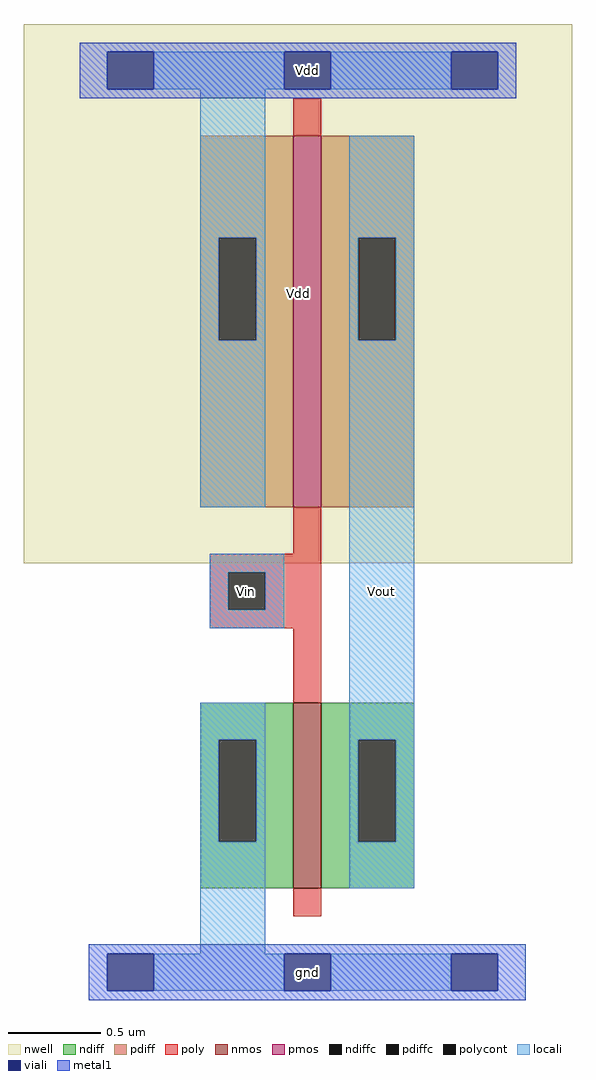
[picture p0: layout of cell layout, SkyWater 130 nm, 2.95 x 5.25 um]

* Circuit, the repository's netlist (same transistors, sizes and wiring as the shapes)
* SPICE3 file created from layout.ext - technology: sky130A

X0 Vout Vin gnd gnd sky130_fd_pr__nfet_01v8 ad=0.5 pd=3 as=0.5 ps=3 w=1 l=0.15
X1 Vout Vin Vdd Vdd sky130_fd_pr__pfet_01v8 ad=1 pd=5 as=1 ps=5 w=2 l=0.15

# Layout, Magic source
magic
tech sky130A
<< nwell >>
rect -110 30 185 320
<< nmos >>
rect 35 -145 50 -45
<< pmos >>
rect 35 60 50 260
<< ndiff >>
rect -15 -65 35 -45
rect -15 -120 -5 -65
rect 15 -120 35 -65
rect -15 -145 35 -120
rect 50 -65 100 -45
rect 50 -120 70 -65
rect 90 -120 100 -65
rect 50 -145 100 -120
<< pdiff >>
rect -15 205 35 260
rect -15 150 -5 205
rect 15 150 35 205
rect -15 60 35 150
rect 50 205 100 260
rect 50 150 70 205
rect 90 150 100 205
rect 50 60 100 150
<< ndiffc >>
rect -5 -120 15 -65
rect 70 -120 90 -65
<< pdiffc >>
rect -5 150 15 205
rect 70 150 90 205
<< poly >>
rect 35 260 50 280
rect 35 35 50 60
rect -10 25 50 35
rect -10 5 0 25
rect 20 5 50 25
rect -10 -5 50 5
rect 35 -45 50 -5
rect 35 -160 50 -145
<< polycont >>
rect 0 5 20 25
<< locali >>
rect -40 285 30 305
rect 55 285 120 305
rect -15 205 20 285
rect -15 150 -5 205
rect 15 150 20 205
rect -15 60 20 150
rect 65 205 100 260
rect 65 150 70 205
rect 90 150 100 205
rect -10 25 30 35
rect -10 5 0 25
rect 20 5 30 25
rect -10 -5 30 5
rect -15 -65 20 -45
rect -15 -120 -5 -65
rect 15 -120 20 -65
rect -15 -180 20 -120
rect 65 -65 100 150
rect 65 -120 70 -65
rect 90 -120 100 -65
rect 65 -145 100 -120
rect -40 -200 30 -180
rect 55 -200 120 -180
<< viali >>
rect -65 285 -40 305
rect 30 285 55 305
rect 120 285 145 305
rect -65 -200 -40 -180
rect 30 -200 55 -180
rect 120 -200 145 -180
<< metal1 >>
rect -80 305 155 310
rect -80 285 -65 305
rect -40 285 30 305
rect 55 285 120 305
rect 145 285 155 305
rect -80 280 155 285
rect -75 -180 160 -175
rect -75 -200 -65 -180
rect -40 -200 30 -180
rect 55 -200 120 -180
rect 145 -200 160 -180
rect -75 -205 160 -200
<< labels >>
rlabel viali 30 285 55 305 1 Vdd
rlabel polycont 0 5 20 25 1 Vin
rlabel locali 65 0 100 30 1 Vout
rlabel viali 30 -200 55 -180 1 gnd
rlabel nwell -110 30 185 320 1 Vdd
<< end >>
